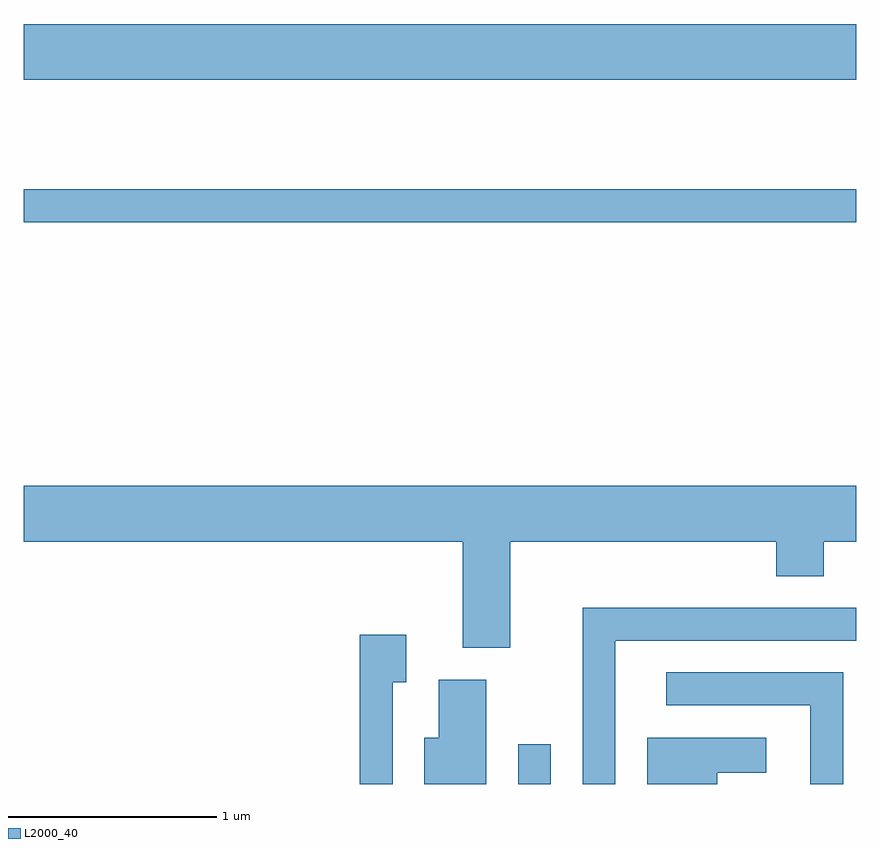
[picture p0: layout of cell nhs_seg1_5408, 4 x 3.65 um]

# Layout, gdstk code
import gdstk
lib = gdstk.Library(unit=1e-6, precision=1e-09)
def R(c, l, rs):  # rectangles x0, y0, x1, y1
    for r in rs: c.add(gdstk.rectangle(r[:2], r[2:], *l))
def P(c, l, *ps):  # polygons
    for p in ps: c.add(gdstk.Polygon(p, *l))
L2000_40 = (2000, 40)

nhs_seg1_5408 = lib.new_cell('nhs_seg1_5408')
R(nhs_seg1_5408, L2000_40, [(349.986,931.712,350.144,931.903), (347.611,934.411,351.611,934.569), (347.611,935.096,351.611,935.364)])
P(nhs_seg1_5408, L2000_40, [(349.949,932.876),(351.226,932.876),(351.226,932.711),(351.454,932.711),(351.454,932.876),(351.611,932.876),(351.611,933.144),(347.611,933.144),(347.611,932.876),(349.721,932.876),(349.721,932.366),(349.949,932.366)],
  [(350.454,932.401),(351.611,932.401),(351.611,932.559),(350.296,932.559),(350.296,931.712),(350.454,931.712)],
  [(349.384,932.201),(349.449,932.201),(349.449,932.429),(349.226,932.429),(349.226,931.712),(349.384,931.712)],
  [(351.549,932.249),(350.698,932.249),(350.698,932.091),(351.391,932.091),(351.391,931.712),(351.549,931.712)],
  [(349.834,932.214),(349.606,932.214),(349.606,931.934),(349.536,931.934),(349.536,931.712),(349.834,931.712)],
  [(350.944,931.766),(351.178,931.766),(351.178,931.934),(350.606,931.934),(350.606,931.712),(350.944,931.712)])

lib.write_gds('nhs_seg1_5408.gds')
